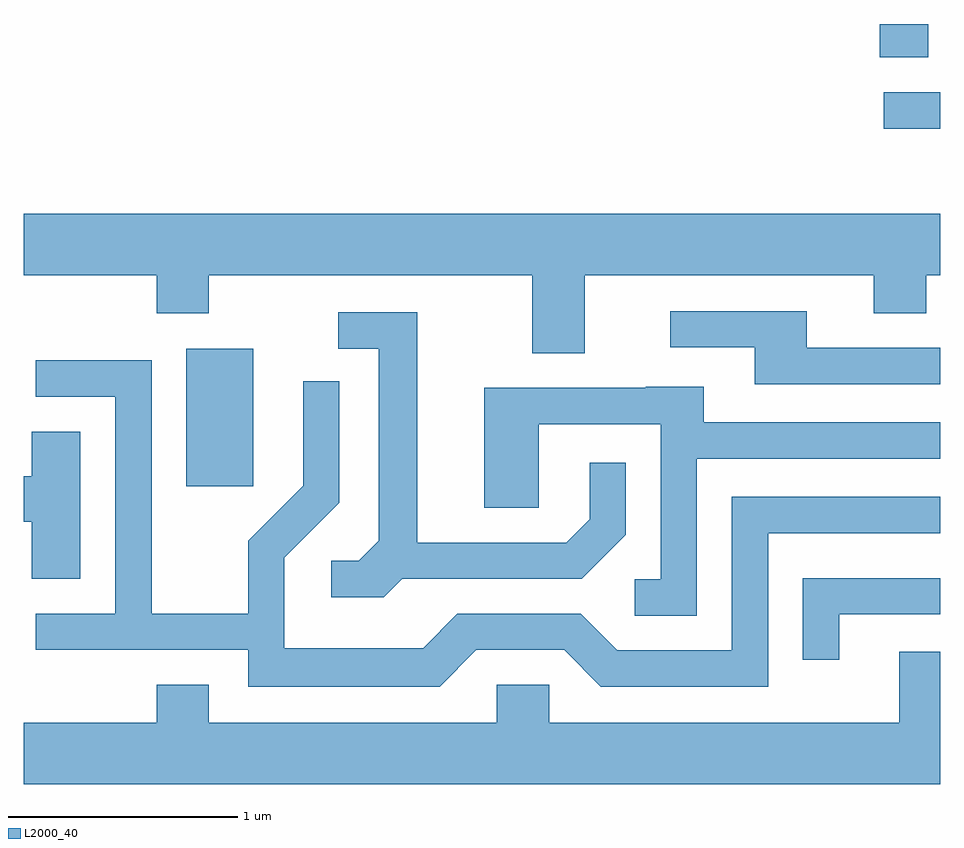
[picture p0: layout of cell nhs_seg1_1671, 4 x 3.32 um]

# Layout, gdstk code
import gdstk
lib = gdstk.Library(unit=1e-6, precision=1e-09)
def R(c, l, rs):  # rectangles x0, y0, x1, y1
    for r in rs: c.add(gdstk.rectangle(r[:2], r[2:], *l))
def P(c, l, *ps):  # polygons
    for p in ps: c.add(gdstk.Polygon(p, *l))
L2000_40 = (2000, 40)

nhs_seg1_1671 = lib.new_cell('nhs_seg1_1671')
R(nhs_seg1_1671, L2000_40, [(236.321,969.696,236.614,970.294), (239.363,971.256,239.611,971.414), (239.346,971.566,239.559,971.712)])
P(nhs_seg1_1671, L2000_40, [(238.059,970.616),(239.321,970.616),(239.321,970.451),(239.549,970.451),(239.549,970.616),(239.611,970.616),(239.611,970.884),(235.611,970.884),(235.611,970.616),(236.191,970.616),(236.191,970.451),(236.419,970.451),(236.419,970.616),(237.831,970.616),(237.831,970.276),(238.059,970.276)],
  [(239.611,970.299),(239.029,970.299),(239.029,970.459),(238.433,970.459),(238.433,970.301),(238.801,970.301),(238.801,970.141),(239.611,970.141)],
  [(237.262,969.291),(238.047,969.291),(238.239,969.484),(238.239,969.798),(238.081,969.798),(238.081,969.552),(237.979,969.449),(237.329,969.449),(237.329,970.454),(236.983,970.454),(236.983,970.296),(237.161,970.296),(237.161,969.457),(237.074,969.369),(236.953,969.369),(236.953,969.211),(237.182,969.211)],
  [(237.587,968.981),(237.969,968.981),(238.129,968.821),(238.859,968.821),(238.859,969.491),(239.611,969.491),(239.611,969.649),(238.701,969.649),(238.701,968.979),(238.202,968.979),(238.042,969.139),(237.504,969.139),(237.354,968.989),(236.749,968.989),(236.749,969.384),(236.989,969.624),(236.989,970.153),(236.831,970.153),(236.831,969.697),(236.591,969.457),(236.591,969.139),(236.169,969.139),(236.169,970.244),(235.663,970.244),(235.663,970.086),(236.011,970.086),(236.011,969.139),(235.663,969.139),(235.663,968.981),(236.591,968.981),(236.591,968.821),(237.427,968.821)],
  [(238.549,969.816),(239.611,969.816),(239.611,969.974),(238.579,969.974),(238.579,970.129),(238.325,970.129),(238.325,970.124),(237.621,970.124),(237.621,969.601),(237.859,969.601),(237.859,969.966),(238.391,969.966),(238.391,969.289),(238.278,969.289),(238.278,969.131),(238.549,969.131)],
  [(235.859,969.934),(235.646,969.934),(235.646,969.739),(235.611,969.739),(235.611,969.541),(235.646,969.541),(235.646,969.291),(235.859,969.291)],
  [(239.169,969.136),(239.611,969.136),(239.611,969.294),(239.011,969.294),(239.011,968.938),(239.169,968.938)],
  [(239.611,968.974),(239.431,968.974),(239.431,968.664),(237.904,968.664),(237.904,968.829),(237.676,968.829),(237.676,968.664),(236.419,968.664),(236.419,968.829),(236.191,968.829),(236.191,968.664),(235.611,968.664),(235.611,968.396),(239.611,968.396)])

lib.write_gds('nhs_seg1_1671.gds')
